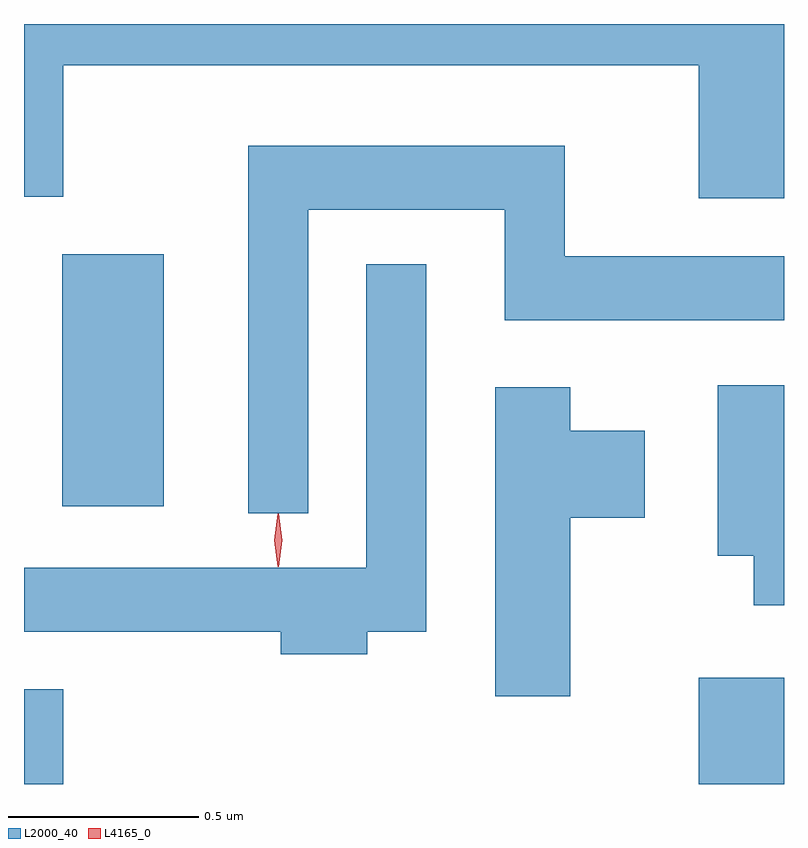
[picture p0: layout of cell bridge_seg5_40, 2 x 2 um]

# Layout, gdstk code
import gdstk
lib = gdstk.Library(unit=1e-6, precision=1e-09)
def R(c, l, rs):  # rectangles x0, y0, x1, y1
    for r in rs: c.add(gdstk.rectangle(r[:2], r[2:], *l))
def P(c, l, *ps):  # polygons
    for p in ps: c.add(gdstk.Polygon(p, *l))
L2000_40 = (2000, 40)
L4165_0 = (4165, 0)

bridge_seg5_40 = lib.new_cell('bridge_seg5_40')
R(bridge_seg5_40, L2000_40, [(1319.246,1463.785,1319.349,1464.034), (1321.021,1463.785,1321.246,1464.064), (1319.346,1464.516,1319.614,1465.179)])
P(bridge_seg5_40, L2000_40, [(1321.246,1465.785),(1319.246,1465.785),(1319.246,1465.331),(1319.349,1465.331),(1319.349,1465.676),(1321.021,1465.676),(1321.021,1465.326),(1321.246,1465.326)],
  [(1319.994,1465.296),(1320.511,1465.296),(1320.511,1465.006),(1321.246,1465.006),(1321.246,1465.174),(1320.669,1465.174),(1320.669,1465.464),(1319.836,1465.464),(1319.836,1464.498),(1319.994,1464.498)],
  [(1320.149,1464.186),(1320.304,1464.186),(1320.304,1465.153),(1320.146,1465.153),(1320.146,1464.354),(1319.246,1464.354),(1319.246,1464.186),(1319.921,1464.186),(1319.921,1464.126),(1320.149,1464.126)],
  [(1321.246,1464.834),(1321.071,1464.834),(1321.071,1464.386),(1321.166,1464.386),(1321.166,1464.256),(1321.246,1464.256)],
  [(1320.684,1464.486),(1320.879,1464.486),(1320.879,1464.714),(1320.684,1464.714),(1320.684,1464.829),(1320.486,1464.829),(1320.486,1464.016),(1320.684,1464.016)])
P(bridge_seg5_40, L4165_0, [(1319.914,1464.357),(1319.905,1464.426),(1319.914,1464.496),(1319.915,1464.496),(1319.916,1464.496),(1319.925,1464.426),(1319.916,1464.357),(1319.915,1464.357)])

lib.write_gds('bridge_seg5_40.gds')
